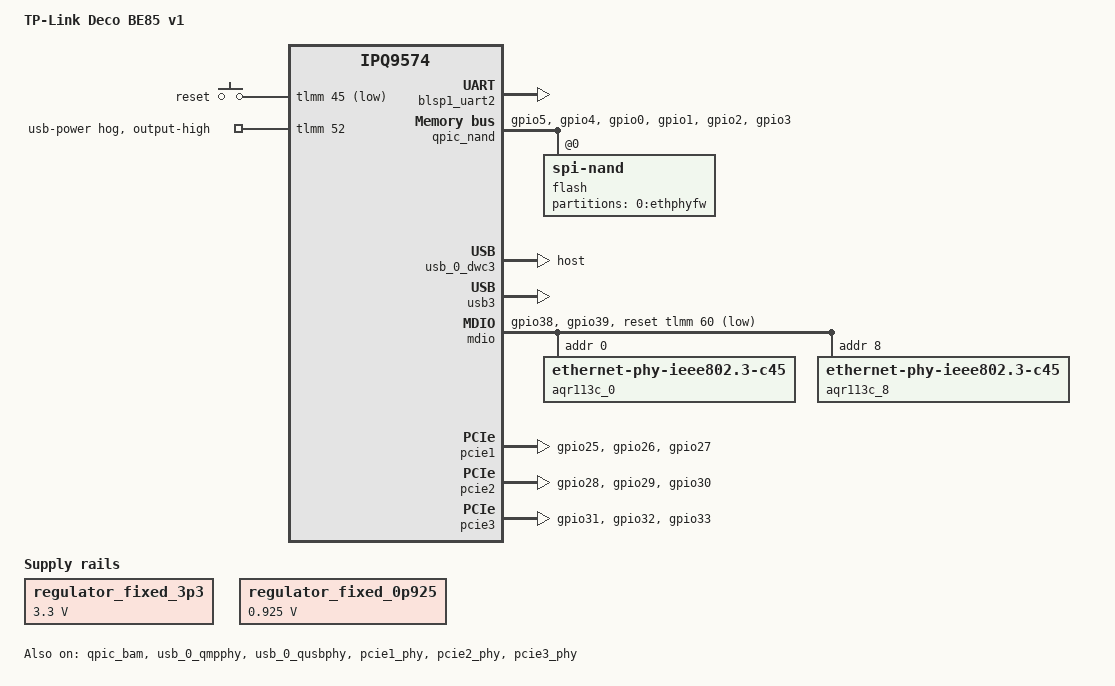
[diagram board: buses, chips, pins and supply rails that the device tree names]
/dts-v1/;

#include <dt-bindings/gpio/gpio.h>
#include <dt-bindings/input/input.h>
#include <dt-bindings/leds/common.h>
#include "ipq9574.dtsi"

/ {
	model = "TP-Link Deco BE85 v1";
	compatible = "tplink,deco-be85-v1", "qcom,ipq9574";

	aliases {
		serial0 = &blsp1_uart2;
	};

	chosen {
		stdout-path = "serial0:115200n8";
	};

	gpio-keys {
		compatible = "gpio-keys";
		pinctrl-0 = <&gpio_keys_default>;
		pinctrl-names = "default";

		button-reset {
			label = "reset";
			linux,code = <KEY_RESTART>;
			gpios = <&tlmm 45 GPIO_ACTIVE_LOW>;
		};
	};

	regulator_fixed_3p3: s3300 {
		compatible = "regulator-fixed";
		regulator-min-microvolt = <3300000>;
		regulator-max-microvolt = <3300000>;
		regulator-boot-on;
		regulator-always-on;
		regulator-name = "fixed_3p3";
	};

	regulator_fixed_0p925: s0925 {
		compatible = "regulator-fixed";
		regulator-min-microvolt = <925000>;
		regulator-max-microvolt = <925000>;
		regulator-boot-on;
		regulator-always-on;
		regulator-name = "fixed_0p925";
	};
};

&sleep_clk {
	clock-frequency = <32000>;
};

/*
 * The bootstrap pins for the board select the XO clock frequency
 * (48 MHZ or 96 MHZ used for different RDP type board). This setting
 * automatically enables the right dividers, to ensure the reference
 * clock output from WiFi to the CMN PLL is 48 MHZ.
 */
&ref_48mhz_clk {
	clock-div = <1>;
	clock-mult = <1>;
};

/*
 * The frequency of xo_board_clk is fixed to 24 MHZ, which is routed
 * from WiFi output clock 48 MHZ divided by 2.
 */
&xo_board_clk {
	clock-div = <2>;
	clock-mult = <1>;
};

&xo_clk {
	clock-frequency = <48000000>;
};

&tlmm {
	gpio_keys_default: gpio-keys-default-state {
		pins = "gpio45";
		function = "gpio";
		drive-strength = <8>;
		bias-pull-up;
	};

	qpic_snand_default_state: qpic-snand-default-state {
		clock-pins {
			pins = "gpio5";
			function = "qspi_clk";
			drive-strength = <8>;
			bias-disable;
		};

		cs-pins {
			pins = "gpio4";
			function = "qspi_cs";
			drive-strength = <8>;
			bias-disable;
		};

		data-pins {
			pins = "gpio0", "gpio1", "gpio2", "gpio3";
			function = "qspi_data";
			drive-strength = <8>;
			bias-disable;
		};
	};

	mdio_default_state: mdio-default-state {
		mdc-pins {
			pins = "gpio38";
			function = "mdc";
			drive-strength = <8>;
			bias-disable;
		};

		mdio-pins {
			pins = "gpio39";
			function = "mdio";
			drive-strength = <8>;
			bias-pull-up;
		};
	};

	pcie1_default: pcie1-default-state {
		clkreq-n-pins {
			pins = "gpio25";
			function = "pcie1_clk";
			drive-strength = <6>;
			bias-pull-up;
		};

		perst-n-pins {
			pins = "gpio26";
			function = "gpio";
			drive-strength = <8>;
			bias-pull-down;
			output-low;
		};

		wake-n-pins {
			pins = "gpio27";
			function = "pcie1_wake";
			drive-strength = <6>;
			bias-pull-up;
		};
	};

	pcie2_default: pcie2-default-state {
		clkreq-n-pins {
			pins = "gpio28";
			function = "pcie2_clk";
			drive-strength = <6>;
			bias-pull-up;
		};

		perst-n-pins {
			pins = "gpio29";
			function = "gpio";
			drive-strength = <8>;
			bias-pull-down;
			output-low;
		};

		wake-n-pins {
			pins = "gpio30";
			function = "pcie2_wake";
			drive-strength = <6>;
			bias-pull-up;
		};
	};

	pcie3_default: pcie3-default-state {
		clkreq-n-pins {
			pins = "gpio31";
			function = "pcie3_clk";
			drive-strength = <6>;
			bias-pull-up;
		};

		perst-n-pins {
			pins = "gpio32";
			function = "gpio";
			drive-strength = <8>;
			bias-pull-up;
			output-low;
		};

		wake-n-pins {
			pins = "gpio33";
			function = "pcie3_wake";
			drive-strength = <6>;
			bias-pull-up;
		};
	};

	usb-power {
		gpio-hog;
		output-high;
		gpios = <52 GPIO_ACTIVE_HIGH>;
		line-name = "usb-power";
	};
};

&blsp1_uart2 {
	pinctrl-0 = <&uart2_pins>;
	pinctrl-names = "default";
	status = "okay";
};

&qpic_bam {
	status = "okay";
};

&qpic_nand {
	pinctrl-0 = <&qpic_snand_default_state>;
	pinctrl-names = "default";
	status = "okay";

	flash@0 {
		compatible = "spi-nand";
		reg = <0>;
		#address-cells = <1>;
		#size-cells = <1>;
		nand-ecc-engine = <&qpic_nand>;
		nand-ecc-strength = <4>;
		nand-ecc-step-size = <512>;

		partitions {
			compatible = "qcom,smem-part";

			nvmem-layout {
				compatible = "fixed-layout";
				#address-cells = <1>;
				#size-cells = <1>;
				label = "0:ethphyfw";

				aqr_fw: firmware@0 {
					reg = <0x28 0x60002>;
				};
			};
		};
	};
};

&rpm_requests {
	regulators {
		compatible = "qcom,rpm-mp5496-regulators";

		ipq9574_s1: s1 {
		/*
		 * During kernel bootup, the SoC runs at 800MHz with 875mV set by the bootloaders.
		 * During regulator registration, kernel not knowing the initial voltage,
		 * considers it as zero and brings up the regulators with minimum supported voltage.
		 * Update the regulator-min-microvolt with SVS voltage of 725mV so that
		 * the regulators are brought up with 725mV which is sufficient for all the
		 * corner parts to operate at 800MHz
		 */
			regulator-min-microvolt = <725000>;
			regulator-max-microvolt = <1075000>;
		};

		mp5496_l2: l2 {
			regulator-min-microvolt = <1800000>;
			regulator-max-microvolt = <1800000>;
			regulator-always-on;
			regulator-boot-on;
		};
	};
};

&usb_0_dwc3 {
	dr_mode = "host";
};

&usb_0_qmpphy {
	vdda-pll-supply = <&mp5496_l2>;
	vdda-phy-supply = <&regulator_fixed_0p925>;

	status = "okay";
};

&usb_0_qusbphy {
	vdd-supply = <&regulator_fixed_0p925>;
	vdda-pll-supply = <&mp5496_l2>;
	vdda-phy-dpdm-supply = <&regulator_fixed_3p3>;

	status = "okay";
};

&usb3 {
	status = "okay";
};

&mdio {
	pinctrl-0 = <&mdio_default_state>;
	pinctrl-names = "default";
	reset-gpios = <&tlmm 60 GPIO_ACTIVE_LOW>;
	clock-frequency = <3125000>;
	status = "okay";

	aqr113c_0: ethernet-phy@0 {
		compatible ="ethernet-phy-ieee802.3-c45";
		reg = <0>;

		/*nvmem-cells = <&aqr_fw>;
		nvmem-cell-names = "firmware";*/
	};

	aqr113c_8: ethernet-phy@8 {
		compatible ="ethernet-phy-ieee802.3-c45";
		reg = <8>;

		/*nvmem-cells = <&aqr_fw>;
		nvmem-cell-names = "firmware";*/
	};
};

&pcie1_phy {
	status = "okay";
};

&pcie1 {
	pinctrl-0 = <&pcie1_default>;
	pinctrl-names = "default";

	perst-gpios = <&tlmm 26 GPIO_ACTIVE_LOW>;
	status = "okay";
};

&pcie2_phy {
	status = "okay";
};

&pcie2 {
	pinctrl-0 = <&pcie2_default>;
	pinctrl-names = "default";

	perst-gpios = <&tlmm 29 GPIO_ACTIVE_LOW>;
	status = "okay";
};

&pcie3_phy {
	status = "okay";
};

&pcie3 {
	pinctrl-0 = <&pcie3_default>;
	pinctrl-names = "default";

	perst-gpios = <&tlmm 32 GPIO_ACTIVE_LOW>;
	status = "okay";
};
